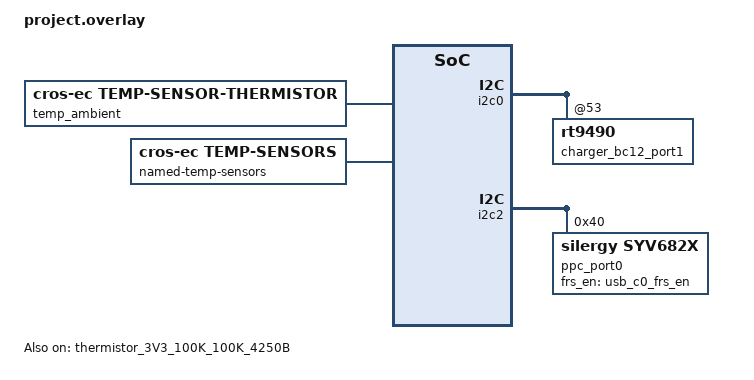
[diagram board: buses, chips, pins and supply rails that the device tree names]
/* Copyright 2024 The ChromiumOS Authors
 * Use of this source code is governed by a BSD-style license that can be
 * found in the LICENSE file.
 */

/* Corsola program common DTS includes */

#include <cros/thermistor/thermistor.dtsi>
#include "../common.dtsi"
#include "../power_signal.dtsi"
#include "../usba.dtsi"
#include "../ite_adc.dtsi"
#include "../ite_gpio.dtsi"
#include "../ite_keyboard.dtsi"
#include "../ite_i2c.dtsi"
#include "../ite_interrupts.dtsi"
#include "../ite_led.dtsi"
#include "../ite_usbc.dtsi"
#include "../ite_shi.dtsi"
#include "./thermistor.dtsi"

/ {
	named-gpios {
		/delete-node/ usb_c0_ppc_bc12_int_odl;

		usb_c0_ppc_int_odl: usb_c0_ppc_int_odl {
			gpios = <&gpiod 1 GPIO_INPUT>;
			enum-name = "GPIO_USB_C0_PPC_INT_ODL";
		};

		/delete-node/ usb_c0_ppc_frsinfo;

		usb_c0_frs_en: usb_c0_frs_en {
			gpios = <&gpiof 0 GPIO_OUTPUT_LOW>;
			enum-name = "GPIO_USB_C0_FRS_EN";
		};

		en_pp5000_usb_a1_vbus: en_pp5000_usb_a1_vbus {
			gpios = <&gpioa 6 GPIO_OUTPUT_LOW>;
		};

		usb_a1_fault_odl: usb_a1_fault_odl {
			gpios = <&gpioa 7 GPIO_INPUT>;
		};
	};

	unused-pins {
		unused-gpios =
			/* pg_pp5000_z2_od */
			<&gpiod 2 GPIO_INPUT>,
			/* GPIO_VOLUME_DOWN_L */
			<&gpiod 5 GPIO_INPUT>,
			/* GPIO_VOLUME_UP_L */
			<&gpiod 6 GPIO_INPUT>,
			/* pg_mt6315_proc_b_odl */
			<&gpioe 1 GPIO_INPUT>,
			/* ec_pen_chg_dis_odl */
			<&gpioh 3 GPIO_ODR_HIGH>,
			/* unnamed nc pins */
			<&gpioa 3 GPIO_INPUT_PULL_DOWN>,
			<&gpiod 7 GPIO_INPUT_PULL_DOWN>,
			<&gpioh 0 GPIO_INPUT_PULL_DOWN>,
			<&gpioh 6 GPIO_INPUT_PULL_DOWN>,
			<&gpioi 3 GPIO_INPUT_PULL_DOWN>,
			<&gpioi 6 GPIO_INPUT_PULL_DOWN>,
			<&gpioi 7 GPIO_INPUT_PULL_DOWN>,
			<&gpiom 6 (GPIO_INPUT_PULL_DOWN | GPIO_VOLTAGE_1P8)>,
			/* spi_clk_gpg6 */
			<&gpiog 6 GPIO_INPUT_PULL_UP>,
			/* spi_mosi_gpg4 */
			<&gpiog 4 GPIO_OUTPUT_LOW>,
			/* spi_miso_gpg5 */
			<&gpiog 5 GPIO_OUTPUT_LOW>,
			/* spi_cs_gpg7 */
			<&gpiog 7 GPIO_OUTPUT_LOW>;
	};

	gpio-interrupts {
		/delete-node/ volume_up;
		/delete-node/ volume_down;
		/delete-node/ usb_c0_ppc_bc12;
		/delete-node/ base_imu;
		/delete-node/ lid_imu;
		/delete-node/ usb_c1_bc12_charger;

		int_usb_c0_ppc: usb_c0_ppc {
			irq-pin = <&usb_c0_ppc_int_odl>;
			flags = <GPIO_INT_EDGE_FALLING>;
			handler = "ppc_interrupt";
		};
	};

	usbc {
		port0@0 {
			/delete-property/ bc12;

			ppc = <&ppc_port0>;
		};

		/delete-node/ port1@1;
		/delete-node/ port1-muxes;
	};

	named-adc-channels {
		adc_ambient: ambient {
			enum-name = "ADC_TEMP_SENSOR_2_AMBIENT";
			io-channels = <&adc0 5>;
		};
	};

	named-i2c-ports {
		compatible = "named-i2c-ports";
		/delete-node/ usb-c1;
	};

	temp_ambient: ambient {
		compatible = "cros-ec,temp-sensor-thermistor";
		thermistor = <&thermistor_3V3_100K_100K_4250B>;
		adc = <&adc_ambient>;
	};

	named-temp-sensors {
		compatible = "cros-ec,temp-sensors";
		ambient {
			temp_host_high = <56>;
			temp_host_halt = <80>;
			temp_host_release_high = <42>;
			sensor = <&temp_ambient>;
		};
		temp_charger: charger {
			temp_host_high = <68>;
			temp_host_halt = <90>;
			temp_host_release_high = <59>;
			sensor = <&charger_bc12_port1>;
		};
	};

	cros-keyscan {
		compatible = "cros-ec,keyscan";

		debounce-down = <15000>;
		debounce-up = <15000>;

		actual-key-mask = <
			0x14	/* C0 */
			0xff	/* C1 */
			0xff	/* C2 */
			0xff	/* C3 */
			0xff	/* C4 */
			0xf5	/* C5 */
			0xff	/* C6 */
			0xa4	/* C7 */
			0xff	/* C8 */
			0xf6	/* C9 */
			0x55	/* C10 */
			0xfa	/* C11 */
			0xca	/* C12 */
			>;
	};

	led-colors {
		compatible = "cros-ec,led-policy";

		/* Skitty LED bat charge */
		bat-power-state-charge {
			charge-state = "LED_PWRS_CHARGE";
			/* Battery percent range (>= Empty, <= 96%) */
			batt-lvl = <BATTERY_LEVEL_EMPTY 96>;

			battery-led {
				led-id = "EC_LED_ID_BATTERY_LED";

				color-0 {
					led-color = "LED_AMBER";
				};
			};
		};

		bat-power-state-charge-near-full {
			charge-state = "LED_PWRS_CHARGE";
			chipset-state = "POWER_S3";
			/* Battery percent range (>= 97%, <= Full) */
			batt-lvl = <97 BATTERY_LEVEL_FULL>;

			battery-led {
				led-id = "EC_LED_ID_BATTERY_LED";

				color-0 {
					led-color = "LED_WHITE";
					period-ms = <1000>;
				};

				color-1 {
					led-color = "LED_OFF";
					period-ms = <1000>;
				};
			};
		};

		bat-power-state-charge-near-full-s0 {
			charge-state = "LED_PWRS_CHARGE";
			chipset-state = "POWER_S0";
			/* Battery percent range (>= 97%, <= Full) */
			batt-lvl = <97 BATTERY_LEVEL_FULL>;

			battery-led {
				led-id = "EC_LED_ID_BATTERY_LED";

				color-0 {
					led-color = "LED_WHITE";
				};
			};
		};

		bat-power-state-charge-near-full-s5 {
			charge-state = "LED_PWRS_CHARGE";
			chipset-state = "POWER_S5";
			/* Battery percent range (>= 97%, <= Full) */
			batt-lvl = <97 BATTERY_LEVEL_FULL>;

			battery-led {
				led-id = "EC_LED_ID_BATTERY_LED";

				color-0 {
					led-color = "LED_WHITE";
				};
			};
		};

		bat-power-state-near-full {
			charge-state = "LED_PWRS_CHARGE_NEAR_FULL";
			chipset-state = "POWER_S3";

			battery-led {
				led-id = "EC_LED_ID_BATTERY_LED";

				color-0 {
					led-color = "LED_WHITE";
					period-ms = <1000>;
				};

				color-1 {
					led-color = "LED_OFF";
					period-ms = <1000>;
				};
			};
		};

		bat-power-state-near-full-s0 {
			charge-state = "LED_PWRS_CHARGE_NEAR_FULL";
			chipset-state = "POWER_S0";

			battery-led {
				led-id = "EC_LED_ID_BATTERY_LED";

				color-0 {
					led-color = "LED_WHITE";
				};
			};
		};

		bat-power-state-near-full-s5 {
			charge-state = "LED_PWRS_CHARGE_NEAR_FULL";
			chipset-state = "POWER_S5";

			battery-led {
				led-id = "EC_LED_ID_BATTERY_LED";

				color-0 {
					led-color = "LED_WHITE";
				};
			};
		};

		/* Skitty LED bat discharge */
		bat-power-state-discharge-s0 {
			charge-state = "LED_PWRS_DISCHARGE";
			chipset-state = "POWER_S0";
			/* Battery percent range (>= 11%, <= Full) */
			batt-lvl = <(BATTERY_LEVEL_LOW + 1) BATTERY_LEVEL_FULL>;

			battery-led {
				led-id = "EC_LED_ID_BATTERY_LED";

				color-0 {
					led-color = "LED_OFF";
				};
			};
		};

		bat-power-state-discharge-s3 {
			charge-state = "LED_PWRS_DISCHARGE";
			chipset-state = "POWER_S3";

			battery-led {
				led-id = "EC_LED_ID_BATTERY_LED";

				color-0 {
					led-color = "LED_WHITE";
					period-ms = <1000>;
				};

				color-1 {
					led-color = "LED_OFF";
					period-ms = <1000>;
				};
			};
		};

		bat-power-state-discharge-s5 {
			charge-state = "LED_PWRS_DISCHARGE";
			chipset-state = "POWER_S5";

			battery-led {
				led-id = "EC_LED_ID_BATTERY_LED";

				color-0 {
					led-color = "LED_OFF";
				};
			};
		};

		/* STARMIE LED low bat discharge */
		bat-power-state-discharge-s0-bat-low {
			charge-state = "LED_PWRS_DISCHARGE";
			batt-lvl = <BATTERY_LEVEL_EMPTY BATTERY_LEVEL_LOW>;

			battery-led {
				led-id = "EC_LED_ID_BATTERY_LED";

				color-0 {
					led-color = "LED_WHITE";
					period-ms = <1000>;
				};

				color-1 {
					led-color = "LED_OFF";
					period-ms = <1000>;
				};
			};
		};

		/* Skitty LED bat error */
		bat-power-state-error {
			charge-state = "LED_PWRS_ERROR";
			chipset-state = "POWER_S0";

			battery-led {
				led-id = "EC_LED_ID_BATTERY_LED";

				color-0 {
					led-color = "LED_WHITE";
					period-ms = <500>;
				};

				color-1 {
					led-color = "LED_OFF";
					period-ms = <500>;
				};
			};
		};

		bat-power-state-error-s3 {
			charge-state = "LED_PWRS_ERROR";
			chipset-state = "POWER_S3";

			battery-led {
				led-id = "EC_LED_ID_BATTERY_LED";

				color-0 {
					led-color = "LED_WHITE";
					period-ms = <500>;
				};

				color-1 {
					led-color = "LED_OFF";
					period-ms = <500>;
				};
			};
		};

		bat-power-state-error-s5 {
			charge-state = "LED_PWRS_ERROR";
			chipset-state = "POWER_S5";

			battery-led {
				led-id = "EC_LED_ID_BATTERY_LED";

				color-0 {
					led-color = "LED_OFF";
				};
			};
		};
	};

	pwm-led-pins {
		compatible = "cros-ec,pwm-led-pins";

		power_led: power-led {
			led-id = "EC_LED_ID_POWER_LED";
			led-pwms = <&led_power_white>;

			/* Overwrite Power LED white to off */
			color-power-white {
				led-color = "LED_WHITE";
				led-values = <0>;
			};
		};
	};

	batteries {
		default_battery: dynapack_highpower_po02037xl {
			compatible = "dynapack,highpower_po02037xl", "battery-smart";
 		};
		dynapack_coslight_po02037xl {
			compatible = "dynapack,coslight_po02037xl", "battery-smart";
		};
	};

};

&adc0 {
	pinctrl-0 = <&adc0_ch0_gpi0_default
		     &adc0_ch1_gpi1_default
		     &adc0_ch2_gpi2_default
			 &adc0_ch5_gpi5_default>;
};

&thermistor_3V3_100K_100K_4250B {
	status = "okay";
};

&i2c0 {
	charger_bc12_port1: rt9490@53 {
		thermistor = <&thermistor_rt9490>;
		/delete-property/ irq;
	};
};

&i2c2 {
	/delete-node/ rt1739@70;

	ppc_port0: syv682x@40 {
		compatible = "silergy,syv682x";
		status = "okay";
		reg = <0x40>;
		frs_en_gpio = <&usb_c0_frs_en>;
	};
};

&i2c4 {
	/delete-node/ syv682x@40;

	/delete-node/ tusb1064-mux-1@44;
};

/* Skitty usba port enable config */
&usba_port_enable_list {
	enable-pins = <&en_pp5000_usb_a0_vbus
		       &en_pp5000_usb_a1_vbus>;
};
